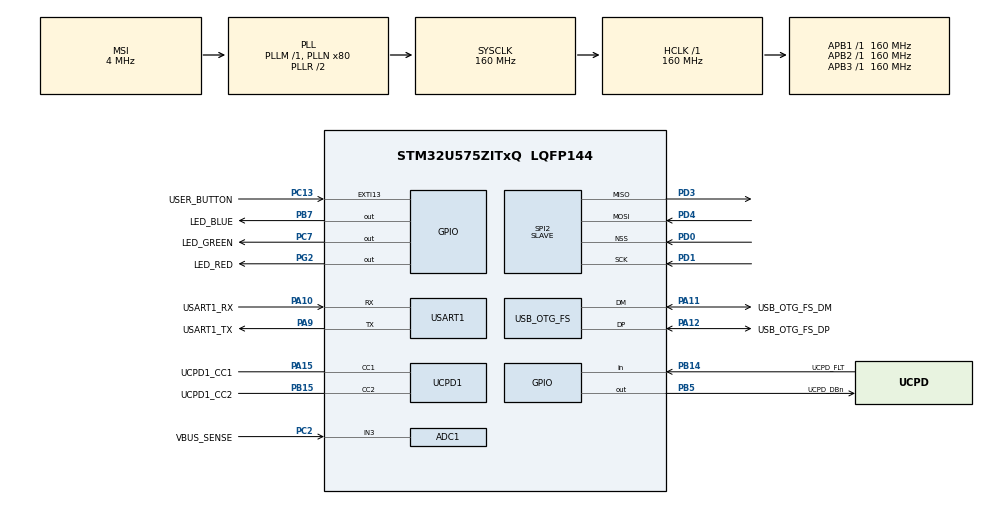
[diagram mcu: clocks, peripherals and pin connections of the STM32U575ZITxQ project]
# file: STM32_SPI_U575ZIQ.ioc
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ADC1.NbrOfConversion=1
ADC1.Resolution=ADC_RESOLUTION_14B
ADC1.master=1
CORTEX_M33_NS.AccessPermission-Cortex_Memory_Protection_Unit_Region0_Settings=MPU_REGION_ALL_RW
CORTEX_M33_NS.AttributesIndex-Cortex_Memory_Protection_Unit_Region0_Settings=MPU_ATTRIBUTES_NUMBER1
CORTEX_M33_NS.BaseAddress-Cortex_Memory_Protection_Unit_Region0_Settings=0x28000000
CORTEX_M33_NS.DisableExec-Cortex_Memory_Protection_Unit_Region0_Settings=MPU_INSTRUCTION_ACCESS_DISABLE
CORTEX_M33_NS.Enable-Cortex_Memory_Protection_Unit_Region0_Settings=MPU_REGION_ENABLE
CORTEX_M33_NS.LimitAddress-Cortex_Memory_Protection_Unit_Region0_Settings=0x28003fff
CORTEX_M33_NS.MPU_Control=MPU_PRIVILEGED_DEFAULT
CORTEX_M33_NS.userName=CORTEX_M33
GPDMA1.DESTINC_GPDMACH1=DMA_DINC_INCREMENTED
GPDMA1.IPHANDLE_GPDMACH1-SIMPLEREQUEST_GPDMACH1=__NULL
GPDMA1.REQUEST_GPDMACH1=GPDMA1_REQUEST_SPI2_RX
Mcu.Family=STM32U5
Mcu.Name=STM32U575ZITxQ
Mcu.Package=LQFP144
NVIC.GPDMA1_Channel1_IRQn=true\:0\:0\:false\:false\:true\:false\:true\:true
NVIC.OTG_FS_IRQn=true\:0\:0\:false\:false\:true\:true\:true\:true
NVIC.PriorityGroup=NVIC_PRIORITYGROUP_3
NVIC.SPI2_IRQn=true\:0\:0\:false\:false\:true\:true\:true\:true
NVIC.TIM1_UP_IRQn=true\:0\:0\:false\:false\:true\:true\:true\:true
PA10.GPIO_Label=USART1_RX
PA10.GPIO_PuPd=GPIO_PULLDOWN
PA10.GPIO_Speed=GPIO_SPEED_FREQ_VERY_HIGH
PA10.Mode=Asynchronous
PA10.Signal=USART1_RX
PA11.GPIO_Label=USB_OTG_FS_DM
PA11.GPIO_Speed=GPIO_SPEED_FREQ_VERY_HIGH
PA11.Mode=Device_Only
PA11.Signal=USB_OTG_FS_DM
PA12.GPIO_Label=USB_OTG_FS_DP
PA12.GPIO_Speed=GPIO_SPEED_FREQ_VERY_HIGH
PA12.Mode=Device_Only
PA12.Signal=USB_OTG_FS_DP
PA13\ (JTMS/SWDIO).Mode=Trace_Asynchronous_SW
PA13\ (JTMS/SWDIO).Signal=DEBUG_JTMS-SWDIO
PA14\ (JTCK/SWCLK).Mode=Trace_Asynchronous_SW
PA14\ (JTCK/SWCLK).Signal=DEBUG_JTCK-SWCLK
PA15\ (JTDI).GPIO_Label=UCPD1_CC1
PA15\ (JTDI).Mode=Sink_AllSignals
PA15\ (JTDI).Signal=UCPD1_CC1
PA5.Signal=SPI1_SCK
PA9.GPIO_Label=USART1_TX
PA9.GPIO_PuPd=GPIO_PULLDOWN
PA9.GPIO_Speed=GPIO_SPEED_FREQ_VERY_HIGH
PA9.Mode=Asynchronous
PA9.Signal=USART1_TX
PB14.GPIO_Label=UCPD_FLT
PB14.Signal=GPIO_Input
PB15.GPIO_Label=UCPD1_CC2
PB15.Mode=Sink_AllSignals
PB15.Signal=UCPD1_CC2
PB3\ (JTDO/TRACESWO).Mode=Trace_Asynchronous_SW
PB3\ (JTDO/TRACESWO).Signal=DEBUG_JTDO-SWO
PB5.GPIO_Label=UCPD_DBn
PB5.Signal=GPIO_Output
PB7.GPIO_Label=LED_BLUE
PB7.GPIO_ModeDefaultOutputPP=GPIO_MODE_OUTPUT_PP
PB7.GPIO_PuPd=GPIO_PULLUP
PB7.GPIO_Speed=GPIO_SPEED_FREQ_HIGH
PB7.Signal=GPIO_Output
PC13.GPIO_Label=USER_BUTTON
PC13.GPIO_ModeDefaultEXTI=GPIO_MODE_IT_FALLING
PC13.Signal=GPXTI13
PC14-OSC32_IN\ (PC14).Mode=LSE-External-Oscillator
PC14-OSC32_IN\ (PC14).Signal=RCC_OSC32_IN
PC15-OSC32_OUT\ (PC15).Mode=LSE-External-Oscillator
PC15-OSC32_OUT\ (PC15).Signal=RCC_OSC32_OUT
PC2.GPIO_Label=VBUS_SENSE
PC2.Mode=IN3-Single-Ended
PC2.Signal=ADC1_IN3
PC7.GPIO_Label=LED_GREEN
PC7.GPIO_PuPd=GPIO_PULLUP
PC7.GPIO_Speed=GPIO_SPEED_FREQ_HIGH
PC7.Signal=GPIO_Output
PD0.Mode=NSS_Signal_Hard_Input
PD0.Signal=SPI2_NSS
PD1.Mode=Full_Duplex_Slave
PD1.Signal=SPI2_SCK
PD3.Mode=Full_Duplex_Slave
PD3.Signal=SPI2_MISO
PD4.Mode=Full_Duplex_Slave
PD4.Signal=SPI2_MOSI
PG2.GPIO_Label=LED_RED
PG2.GPIO_ModeDefaultOutputPP=GPIO_MODE_OUTPUT_PP
PG2.GPIO_PuPd=GPIO_PULLUP
PG2.GPIO_Speed=GPIO_SPEED_FREQ_HIGH
PG2.Signal=GPIO_Output
PWR.PowerMode=PWR_SMPS_SUPPLY
ProjectManager.HeapSize=0x200
ProjectManager.StackSize=0x400
ProjectManager.TargetToolchain=STM32CubeIDE
RCC.ADCFreq_Value=16000000
RCC.AHBFreq_Value=160000000
RCC.APB1Freq_Value=160000000
RCC.APB1TimFreq_Value=160000000
RCC.APB2Freq_Value=160000000
RCC.APB2TimFreq_Value=160000000
RCC.APB3Freq_Value=160000000
RCC.CortexFreq_Value=160000000
RCC.DACCLockSelectionVirtual=RCC_DAC1CLKSOURCE_LSI
RCC.EPOD_VALUE=4000000
RCC.HCLKFreq_Value=160000000
RCC.HSE_VALUE=16000000
RCC.HSI48_VALUE=48000000
RCC.HSI_VALUE=16000000
RCC.LSIDIV_VALUE=32000
RCC.MSI_VALUE=4000000
RCC.PLLN=80
RCC.SYSCLKFreq_VALUE=160000000
RCC.SYSCLKSource=RCC_SYSCLKSOURCE_PLLCLK
RCC.USBFreq_Value=48000000
RCC.VCOOutputFreq_Value=320000000
SPI2.DataSize=SPI_DATASIZE_8BIT
SPI2.Direction=SPI_DIRECTION_2LINES
SPI2.Mode=SPI_MODE_SLAVE
SPI2.VirtualNSS=VM_NSSHARD
SPI2.VirtualType=VM_SLAVE
TIM1.PeriodNoDither=1000-1
TIM1.Prescaler=160-1
USART1.VirtualMode-Asynchronous=VM_ASYNC
USB_OTG_FS.VirtualMode=Device_Only
VP_DCACHE1_VS_DCACHE.Mode=DCACHE_Activate
VP_GPDMA1_VS_GPDMACH1.Mode=SIMPLEREQUEST_GPDMACH1
VP_ICACHE_VS_ENABLE_ICACHE_MEMORY.Mode=Memoryregions
VP_ICACHE_VS_ICACHE.Mode=DirectMappedCache
VP_LPBAMQUEUE_VS_QUEUE.Mode=QUEUEMODE
VP_LPBAM_VS_SIG1.Mode=SmartRun
VP_LPBAM_VS_SIG4.Mode=LPDMA1
VP_MEMORYMAP_VS_MEMORYMAP.Mode=CurAppReg
VP_PWR_VS_DBSignals.Mode=DisableDeadBatterySignals
VP_PWR_VS_LPOM.Mode=PowerOptimisation
VP_PWR_VS_SECSignals.Mode=Security/Privilege
VP_PWR_Vdda.Mode=isolationVdda
VP_TIM1_VS_ClockSourceINT.Mode=Internal
board=NUCLEO-U575ZI-Q

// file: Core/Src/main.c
/* USER CODE BEGIN Header */
/**
  ******************************************************************************
  * @file           : main.c
  * @brief          : Main program body
  ******************************************************************************
  * @attention
  *
  * Copyright (c) 2024 STMicroelectronics.
  * All rights reserved.
  *
  * This software is licensed under terms that can be found in the LICENSE file
  * in the root directory of this software component.
  * If no LICENSE file comes with this software, it is provided AS-IS.
  *
  ******************************************************************************
  */
/* USER CODE END Header */
#include "main.h"
#include "adc.h"
#include "dcache.h"
#include "gpdma.h"
#include "icache.h"
#include "memorymap.h"
#include "spi.h"
#include "tim.h"
#include "ucpd.h"
#include "usart.h"
#include "usb_otg.h"
#include "gpio.h"

/* USER CODE BEGIN Includes */
#include "string.h"
/* USER CODE END Includes */

/* USER CODE BEGIN PD */

#define SPI_DOUBLE_DATA_NUM 		10
#define SPI_FLOAT_DATA_NUM 			20
#define SPI_INT32_DATA_NUM 			10
#define SPI_UINT32_DATA_NUM 		10
#define SPI_INT16_DATA_NUM 			10
#define SPI_UINT16_DATA_NUM 		10
#define SPI_INT8_DATA_NUM 			10
#define SPI_UINT8_DATA_NUM 			10

#define DATA_TOTAL_BYTE 			100		// Should be Larger than NEEDED
#define SPI_TOTAL_DATA_NUM			(SPI_DOUBLE_DATA_NUM + SPI_FLOAT_DATA_NUM + SPI_INT32_DATA_NUM + SPI_UINT32_DATA_NUM + SPI_INT16_DATA_NUM + SPI_UINT16_DATA_NUM + SPI_INT8_DATA_NUM + SPI_UINT8_DATA_NUM)

typedef enum _IOIF_SPIDatatType_t {
	SPI_DOUBLE = 1,
	SPI_FLOAT,
	SPI_INT32,
	SPI_UINT32,
	SPI_INT16,
	SPI_UINT16,
	SPI_INT8,
	SPI_UINT8
} IOIF_SPIDataType_t;

typedef struct _IOIF_SPIObj_t {
	double doubleSPIData[SPI_DOUBLE_DATA_NUM];
	float floatSPIData[SPI_FLOAT_DATA_NUM];
	int32_t int32SPIData[SPI_INT32_DATA_NUM];
	uint32_t uint32SPIData[SPI_UINT32_DATA_NUM];
	int16_t int16SPIData[SPI_INT16_DATA_NUM];
	uint16_t uint16SPIData[SPI_UINT16_DATA_NUM];
	int8_t int8SPIData[SPI_INT8_DATA_NUM];
	uint8_t uint8SPIData[SPI_UINT8_DATA_NUM];

	uint8_t doubleIndex;
	uint8_t floatIndex;
	uint8_t int32Index;
	uint8_t uint32Index;
	uint8_t int16Index;
	uint8_t uint16Index;
	uint8_t int8Index;
	uint8_t uint8Index;

	uint8_t totalDataNum;
	uint16_t totalDataByte;

	uint8_t dataTypeArray[SPI_TOTAL_DATA_NUM];

	uint8_t ParsedSPIByteData[DATA_TOTAL_BYTE];
} IOIF_SPIObj_t;

/* USER CODE END PD */

/* USER CODE BEGIN PV */

/* For DMA SPI Communication (with DMA) */
static uint8_t spi2CommDmaRxBuff[DATA_TOTAL_BYTE] __attribute__((section(".spi2RxBuff"))) = {0};

uint8_t rxByteDataArray[DATA_TOTAL_BYTE] = {0};

/* Receive */
void byteValueToRealValue(void* realData, uint8_t* byteData)
{
	static uint16_t rxDataIndex = 0;
	static uint8_t rxDataNum = 0;
	static uint8_t firstRead = 0;
	static uint8_t totalDataNum = 0;

	/* Check Total Data Number */
	if (firstRead == 0){
		totalDataNum = byteData[rxDataIndex];
		rxDataIndex++;
		firstRead = 1;
	}

	/* Parsing */
	if (byteData[rxDataIndex] == SPI_DOUBLE){
		memcpy((double*)realData, &byteData[rxDataIndex+1], sizeof(double));
		rxDataIndex += 9;
		rxDataNum++;
	}
	else if (byteData[rxDataIndex] == SPI_FLOAT){
		memcpy((float*)realData, &byteData[rxDataIndex+1], sizeof(float));
		rxDataIndex += 5;
		rxDataNum++;
	}
	else if (byteData[rxDataIndex] == SPI_INT32){
		memcpy((int32_t*)realData, &byteData[rxDataIndex+1], sizeof(int32_t));
		rxDataIndex += 5;
		rxDataNum++;
	}
	else if (byteData[rxDataIndex] == SPI_UINT32){
		memcpy((uint32_t*)realData, &byteData[rxDataIndex+1], sizeof(uint32_t));
		rxDataIndex += 5;
		rxDataNum++;
	}
	else if (byteData[rxDataIndex] == SPI_INT16){
		memcpy((int16_t*)realData, &byteData[rxDataIndex+1], sizeof(int16_t));
		rxDataIndex += 3;
		rxDataNum++;
	}
	else if (byteData[rxDataIndex] == SPI_UINT16){
		memcpy((uint16_t*)realData, &byteData[rxDataIndex+1], sizeof(uint16_t));
		rxDataIndex += 3;
		rxDataNum++;
	}
	else if (byteData[rxDataIndex] == SPI_INT8){
		memcpy((int8_t*)realData, &byteData[rxDataIndex+1], sizeof(int8_t));
		rxDataIndex += 2;
		rxDataNum++;
	}
	else if (byteData[rxDataIndex] == SPI_UINT8){
		memcpy((uint8_t*)realData, &byteData[rxDataIndex+1], sizeof(uint8_t));
		rxDataIndex += 2;
		rxDataNum++;
	}
	else {
		rxDataIndex = 0;
		rxDataNum = 0;
		firstRead = 0;
		return;
	}

	/* Optimization case */
	if (rxDataIndex == DATA_TOTAL_BYTE){
		rxDataIndex = 0;
		rxDataNum = 0;
		firstRead = 0;
		return;
	}

	if (rxDataNum == totalDataNum){
		rxDataIndex = 0;
		rxDataNum = 0;
		firstRead = 0;
		return;
	}
}

/* For Received Values */
float data1;
float data2;
float data3;
float data4;
float data5;
float data6;
float data7;
float data8;
float data9;
float data10;
float data11;
float data12;
float data13;

void settingSPIReceivedData(uint8_t* byteData)
{
	byteValueToRealValue(&data1, byteData);
	byteValueToRealValue(&data2, byteData);
	byteValueToRealValue(&data3, byteData);
	byteValueToRealValue(&data4, byteData);
	byteValueToRealValue(&data5, byteData);
	byteValueToRealValue(&data6, byteData);
	byteValueToRealValue(&data7, byteData);
//	byteValueToRealValue(&data8, byteData);
//	byteValueToRealValue(&data9, byteData);
//	byteValueToRealValue(&data10, byteData);
//	byteValueToRealValue(&data11, byteData);
//	byteValueToRealValue(&data12, byteData);
//	byteValueToRealValue(&data13, byteData);
}

/* Receive */
uint8_t IOIF_ReceiveSPIData(void)
{
	memset(rxByteDataArray, 0, DATA_TOTAL_BYTE);
	uint8_t rxDebug = HAL_SPI_Receive_DMA(&hspi2, spi2CommDmaRxBuff, DATA_TOTAL_BYTE);
	memcpy(rxByteDataArray, spi2CommDmaRxBuff, DATA_TOTAL_BYTE);
	settingSPIReceivedData(rxByteDataArray);

	return rxDebug;
}

uint32_t timeElapsed = 0;

/* USER CODE END PV */

void SystemClock_Config(void);
static void SystemPower_Config(void);
static void MPU_Config(void);

int main(void)
{

  /* MCU Configuration--------------------------------------------------------*/

  /* Reset of all peripherals, Initializes the Flash interface and the Systick. */
  HAL_Init();

  /* MPU Configuration--------------------------------------------------------*/
  MPU_Config();

  /* Configure the system clock */
  SystemClock_Config();

  /* Configure the System Power */
  SystemPower_Config();

  /* Initialize all configured peripherals */
  MX_GPIO_Init();
  MX_GPDMA1_Init();
  MX_ICACHE_Init();
  MX_UCPD1_Init();
  MX_USART1_UART_Init();
  MX_USB_OTG_FS_PCD_Init();
  MX_DCACHE1_Init();
  MX_SPI2_Init();
  MX_ADC1_Init();
  MX_TIM1_Init();
  /* USER CODE BEGIN 2 */

  memset(rxByteDataArray, 0, DATA_TOTAL_BYTE);
  memset(spi2CommDmaRxBuff, 0, DATA_TOTAL_BYTE);

  HAL_TIM_Base_Start_IT(&htim1);

  /* USER CODE END 2 */

  /* Infinite loop */
  while (1)
  {

  }
}

void SystemClock_Config(void)
{
  RCC_OscInitTypeDef RCC_OscInitStruct = {0};
  RCC_ClkInitTypeDef RCC_ClkInitStruct = {0};

  /** Configure the main internal regulator output voltage
  */
  if (HAL_PWREx_ControlVoltageScaling(PWR_REGULATOR_VOLTAGE_SCALE1) != HAL_OK)
  {
    Error_Handler();
  }

  /** Initializes the CPU, AHB and APB buses clocks
  */
  RCC_OscInitStruct.OscillatorType = RCC_OSCILLATORTYPE_HSI48|RCC_OSCILLATORTYPE_HSI
                              |RCC_OSCILLATORTYPE_MSI;
  RCC_OscInitStruct.HSIState = RCC_HSI_ON;
  RCC_OscInitStruct.HSI48State = RCC_HSI48_ON;
  RCC_OscInitStruct.HSICalibrationValue = RCC_HSICALIBRATION_DEFAULT;
  RCC_OscInitStruct.MSIState = RCC_MSI_ON;
  RCC_OscInitStruct.MSICalibrationValue = RCC_MSICALIBRATION_DEFAULT;
  RCC_OscInitStruct.MSIClockRange = RCC_MSIRANGE_4;
  RCC_OscInitStruct.PLL.PLLState = RCC_PLL_ON;
  RCC_OscInitStruct.PLL.PLLSource = RCC_PLLSOURCE_MSI;
  RCC_OscInitStruct.PLL.PLLMBOOST = RCC_PLLMBOOST_DIV1;
  RCC_OscInitStruct.PLL.PLLM = 1;
  RCC_OscInitStruct.PLL.PLLN = 80;
  RCC_OscInitStruct.PLL.PLLP = 2;
  RCC_OscInitStruct.PLL.PLLQ = 2;
  RCC_OscInitStruct.PLL.PLLR = 2;
  RCC_OscInitStruct.PLL.PLLRGE = RCC_PLLVCIRANGE_0;
  RCC_OscInitStruct.PLL.PLLFRACN = 0;
  if (HAL_RCC_OscConfig(&RCC_OscInitStruct) != HAL_OK)
  {
    Error_Handler();
  }

  /** Initializes the CPU, AHB and APB buses clocks
  */
  RCC_ClkInitStruct.ClockType = RCC_CLOCKTYPE_HCLK|RCC_CLOCKTYPE_SYSCLK
                              |RCC_CLOCKTYPE_PCLK1|RCC_CLOCKTYPE_PCLK2
                              |RCC_CLOCKTYPE_PCLK3;
  RCC_ClkInitStruct.SYSCLKSource = RCC_SYSCLKSOURCE_PLLCLK;
  RCC_ClkInitStruct.AHBCLKDivider = RCC_SYSCLK_DIV1;
  RCC_ClkInitStruct.APB1CLKDivider = RCC_HCLK_DIV1;
  RCC_ClkInitStruct.APB2CLKDivider = RCC_HCLK_DIV1;
  RCC_ClkInitStruct.APB3CLKDivider = RCC_HCLK_DIV1;

  if (HAL_RCC_ClockConfig(&RCC_ClkInitStruct, FLASH_LATENCY_4) != HAL_OK)
  {
    Error_Handler();
  }
}

/**
  * @brief Power Configuration
  * @retval None
  */
static void SystemPower_Config(void)
{
  HAL_PWREx_EnableVddIO2();

  /*
   * Switch to SMPS regulator instead of LDO
   */
  if (HAL_PWREx_ConfigSupply(PWR_SMPS_SUPPLY) != HAL_OK)
  {
    Error_Handler();
  }
}

/* USER CODE BEGIN 4 */
void HAL_TIM_PeriodElapsedCallback(TIM_HandleTypeDef *htim)
{
	/* TIM1 : SPI2(Slave) - Receive */
	if (htim == &htim1){
		/* Loop Start Time Check */
		CoreDebug->DEMCR |= CoreDebug_DEMCR_TRCENA_Msk;
		DWT->CYCCNT = 0;
		DWT->CTRL |= DWT_CTRL_CYCCNTENA_Msk;

		/* Used Function */
		IOIF_ReceiveSPIData();
		//////////////////////////

		timeElapsed = DWT->CYCCNT / 160;	// in microsecond
	}
}
/* USER CODE END 4 */

/* MPU Configuration */

void MPU_Config(void)
{
  MPU_Region_InitTypeDef MPU_InitStruct = {0};
  MPU_Attributes_InitTypeDef MPU_AttributesInit = {0};

  /* Disables the MPU */
  HAL_MPU_Disable();

  /** Initializes and configures the Region and the memory to be protected
  */
  MPU_InitStruct.Enable = MPU_REGION_ENABLE;
  MPU_InitStruct.Number = MPU_REGION_NUMBER0;
  MPU_InitStruct.BaseAddress = 0x28000000;
  MPU_InitStruct.LimitAddress = 0x28003fff;
  MPU_InitStruct.AttributesIndex = MPU_ATTRIBUTES_NUMBER1;
  MPU_InitStruct.AccessPermission = MPU_REGION_ALL_RW;
  MPU_InitStruct.DisableExec = MPU_INSTRUCTION_ACCESS_DISABLE;
  MPU_InitStruct.IsShareable = MPU_ACCESS_NOT_SHAREABLE;

  HAL_MPU_ConfigRegion(&MPU_InitStruct);
  MPU_AttributesInit.Number = MPU_REGION_NUMBER0;
  MPU_AttributesInit.Attributes = MPU_DEVICE_nGnRnE | MPU_WRITE_THROUGH
                              | MPU_TRANSIENT | MPU_NO_ALLOCATE;

  HAL_MPU_ConfigMemoryAttributes(&MPU_AttributesInit);
  /* Enables the MPU */
  HAL_MPU_Enable(MPU_PRIVILEGED_DEFAULT);

}

void Error_Handler(void)
{
  __disable_irq();
  while (1)
  {
  }
}
